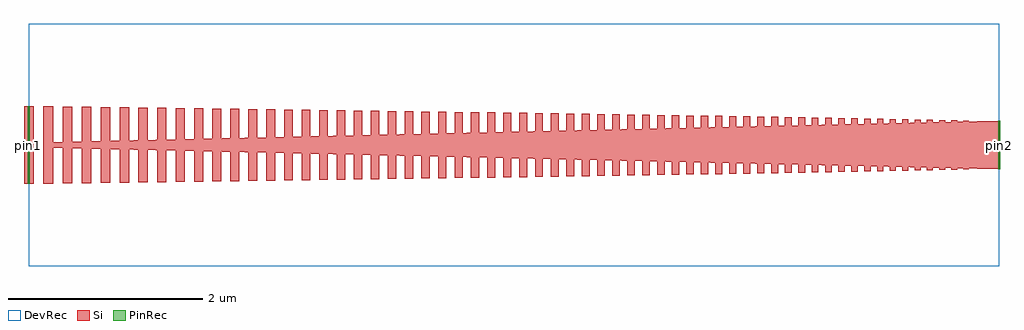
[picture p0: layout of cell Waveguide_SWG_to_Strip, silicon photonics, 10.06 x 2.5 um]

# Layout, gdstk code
import gdstk
lib = gdstk.Library(unit=1e-6, precision=1e-09)
def R(c, l, rs):  # rectangles x0, y0, x1, y1
    for r in rs: c.add(gdstk.rectangle(r[:2], r[2:], *l))
def P(c, l, *ps):  # polygons
    for p in ps: c.add(gdstk.Polygon(p, *l))
Si = (1, 0)
PinRec = (1, 10)
DevRec = (68, 0)

waveguide_swg_to_strip = lib.new_cell('Waveguide_SWG_to_Strip')
R(waveguide_swg_to_strip, Si, [(-0.05,-0.4,0.05,0.4), (0.15,-0.397,0.25,0.397), (0.349,-0.395,0.447,0.395), (0.546,-0.392,0.644,0.392), (0.742,-0.39,0.84,0.39), (0.937,-0.387,1.033,0.387), (1.13,-0.385,1.226,0.385), (1.322,-0.382,1.418,0.382), (1.513,-0.38,1.608,0.38), (1.703,-0.377,1.797,0.377), (1.891,-0.375,1.985,0.375), (2.078,-0.372,2.171,0.372), (2.264,-0.37,2.356,0.37), (2.448,-0.368,2.54,0.368), (2.631,-0.365,2.722,0.365), (2.813,-0.363,2.903,0.363), (2.993,-0.36,3.083,0.36), (3.172,-0.358,3.261,0.358), (3.35,-0.355,3.438,0.355), (3.526,-0.353,3.614,0.353), (3.701,-0.35,3.788,0.35), (3.875,-0.348,3.961,0.348), (4.047,-0.345,4.133,0.345), (4.218,-0.343,4.303,0.343), (4.388,-0.34,4.472,0.34), (4.557,-0.338,4.641,0.338), (4.724,-0.336,4.807,0.336), (4.89,-0.333,4.972,0.333), (5.055,-0.331,5.137,0.331), (5.218,-0.328,5.299,0.328), (5.38,-0.326,5.46,0.326), (5.541,-0.323,5.621,0.323), (5.7,-0.321,5.779,0.321), (5.858,-0.318,5.936,0.318), (6.015,-0.316,6.093,0.316), (6.17,-0.313,6.247,0.313), (6.324,-0.311,6.4,0.311), (6.477,-0.309,6.553,0.309), (6.628,-0.306,6.703,0.306), (6.778,-0.304,6.852,0.304), (6.927,-0.301,7.001,0.301), (7.075,-0.299,7.148,0.299), (7.221,-0.296,7.293,0.296), (7.366,-0.294,7.438,0.294), (7.51,-0.291,7.581,0.291), (7.652,-0.289,7.722,0.289), (7.793,-0.286,7.863,0.286), (7.933,-0.284,8.002,0.284), (8.071,-0.281,8.139,0.281), (8.208,-0.279,8.276,0.279), (8.344,-0.277,8.411,0.277), (8.478,-0.274,8.544,0.274), (8.611,-0.272,8.677,0.272), (8.743,-0.269,8.808,0.269), (8.873,-0.267,8.937,0.267), (9.002,-0.264,9.066,0.264), (9.13,-0.262,9.194,0.262), (9.257,-0.259,9.319,0.259), (9.382,-0.257,9.444,0.257), (9.506,-0.254,9.568,0.254), (9.629,-0.252,9.689,0.252)])
P(waveguide_swg_to_strip, Si, [(10,-0.25),(0.163,-0.03),(0.163,0.03),(10,0.25)])
R(waveguide_swg_to_strip, DevRec, [(0,-1.25,10,1.25)])
waveguide_swg_to_strip.add(gdstk.FlexPath([(0.01,0),(-0.01,0)], 0.8, ends="flush", simple_path=True, layer=1, datatype=10))  # PinRec
waveguide_swg_to_strip.add(gdstk.FlexPath([(9.99,0),(10.01,0)], 0.5, ends="flush", simple_path=True, layer=1, datatype=10))  # PinRec
waveguide_swg_to_strip.add(gdstk.Label('pin1', (0,0), layer=1, texttype=10))
waveguide_swg_to_strip.add(gdstk.Label('pin2', (10,0), layer=1, texttype=10))

lib.write_gds('Waveguide_SWG_to_Strip.gds')
